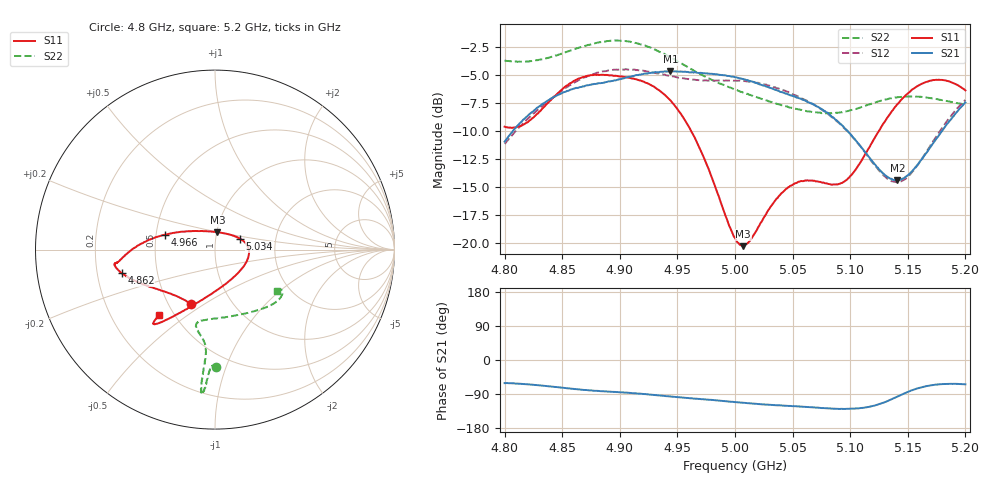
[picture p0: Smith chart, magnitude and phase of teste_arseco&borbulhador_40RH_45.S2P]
! Network Analyzer HP8722D
! Hewlett-Packard
! Data name: Linha & Wilkinson
! Saver's name: Rodrigo Anjos
! Comments: Teste da utilização de aquisição
! continua pelo VNA HP8722D
! Time and date: 15/4/2025 16:43
!  Frequency  S11  S21  S12  S22
# HZ  S  MA R 50
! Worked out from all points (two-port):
!   401 points, 4.8 GHz to 5.2 GHz, reference 50 ohm
!   highest |S21| = -4.64 dB at 4.944 GHz (marker M1); lowest = -14.4 dB at 5.141 GHz (marker M2)
!   |S21| within 3 dB of the highest: 4.832 GHz to 5.069 GHz (236.8 MHz wide, 4.78 % of centre); 5.198105 GHz to end of sweep
!   lowest |S11| = -20.3 dB at 5.007 GHz (marker M3), VSWR 1.21, Z = 50.4 + j9.78 ohm
!   |S11| at or under -10 dB: 4.962 GHz to 5.125 GHz (162.7 MHz wide, 3.23 % of centre)
!   |S22| runs from -8.4 to -1.9 dB; largest |S21 - S12| = 0.88
!   S11 on the Smith chart (normalised r, x): 4.8 GHz: 0.65, -0.44; 4.862 GHz: 0.31, -0.11; 4.966 GHz: 0.56, +0.10; 5.034 GHz: 1.32, +0.16; 5.2 GHz: 0.41, -0.39
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4.8e9  0.3316 -113.9  0.2843 -61.0  0.2781 -175.1  0.6547 -89.6
4.819e9  0.3456 -133.8  0.367 -63.9  0.3549 -173.4  0.6488 -91.2
4.862e9  0.5366 -165.9  0.4946 -76.7  0.5266 -176.6  0.7399 -93.7
4.867e9  0.5497 -167.8  0.4995 -78.6  0.542 -177.6  0.7548 -93.9
4.901e9  0.556 -172.3  0.5411 -85.3  0.598 175.3  0.8026 -95.3
4.934e9  0.4829 -178.2  0.5805 -93.4  0.5733 171.9  0.7176 -95.7
4.944e9  0.4343 177.3  0.5861 -96.2  0.5571 171.9  0.6768 -95.5
4.966e9  0.2892 163.2  0.5786 -102.1  0.5361 173.8  0.5831 -95.0
5e9  0.1055 106.2  0.5514 -111.2  0.5322 176.4  0.4854 -99.3
5.007e9  0.09703 82.2  0.541 -112.8  0.5302 176.3  0.471 -101.1
5.014e9  0.1045 60.0  0.5286 -114.7  0.5265 176.0  0.4579 -102.6
5.034e9  0.1529 23.1  0.4866 -119.1  0.4983 175.0  0.4229 -104.0
5.05e9  0.1825 6.3  0.4553 -121.9  0.4636 174.4  0.4018 -100.3
5.067e9  0.1907 -12.1  0.42 -124.8  0.4197 174.0  0.3855 -91.7
5.087e9  0.1829 -44.5  0.3567 -128.6  0.3554 173.6  0.3821 -76.7
5.097e9  0.1918 -65.7  0.3196 -129.0  0.3183 174.3  0.3886 -68.3
5.134e9  0.3744 -116.5  0.1954 -106.3  0.1919 -159.1  0.4428 -43.4
5.141e9  0.4181 -120.3  0.1908 -96.5  0.1875 -148.2  0.4488 -40.2
5.153e9  0.482 -125.2  0.2081 -80.4  0.2058 -129.6  0.4524 -36.0
5.17e9  0.5323 -128.8  0.2701 -66.8  0.2755 -113.0  0.4447 -32.1
5.184e9  0.5312 -130.1  0.3407 -63.1  0.3511 -107.2  0.4317 -31.2
5.2e9  0.4817 -130.5  0.425 -64.2  0.4365 -106.2  0.4156 -33.5
